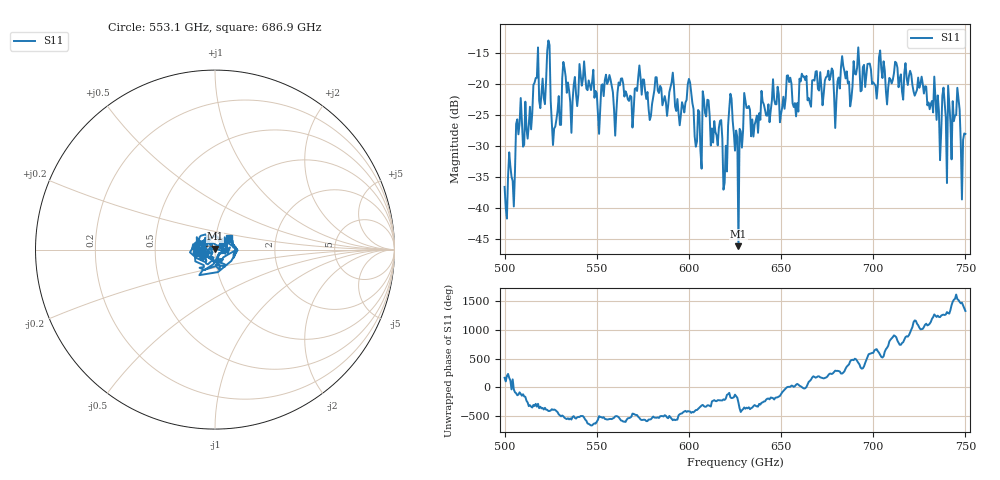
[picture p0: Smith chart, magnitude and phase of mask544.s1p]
!Created with skrf (http://scikit-rf.org).
# GHz S MA R 50.0
!freq magS11 angS11
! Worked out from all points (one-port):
!   401 points, 500 GHz to 750 GHz, reference 50 ohm
!   lowest |S11| = -46.1 dB at 626.9 GHz (marker M1), VSWR 1.01, Z = 50 + j0.494 ohm
!   |S11| at or under -10 dB: start of sweep to end of sweep
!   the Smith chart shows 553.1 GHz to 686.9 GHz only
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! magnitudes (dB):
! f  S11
! 500 GHz  -36.6
! 504.4 GHz  -35.6
! 507.5 GHz  -28.1
! 513.8 GHz  -23.7
! 516.9 GHz  -19.1
! 520.6 GHz  -19.2
! 523.8 GHz  -13.0
! 526.9 GHz  -27.2
! 531.2 GHz  -19.2
! 550.6 GHz  -24.6
! 556.2 GHz  -19.6
! 560 GHz  -28.3
! 562.5 GHz  -20.3
! 593.8 GHz  -22.5
! 600.6 GHz  -19.8
! 605.6 GHz  -24.5
! 608.8 GHz  -24.7
! 619.4 GHz  -35.9
! 622.5 GHz  -21.6
! 625 GHz  -30.8
! 626.9 GHz  -46.1
! 631.2 GHz  -23.9
! 635 GHz  -28.5
! 656.2 GHz  -23.1
! 687.5 GHz  -23.6
! 690.6 GHz  -18.5
! 718.8 GHz  -20.2
! 750 GHz  -28.1
